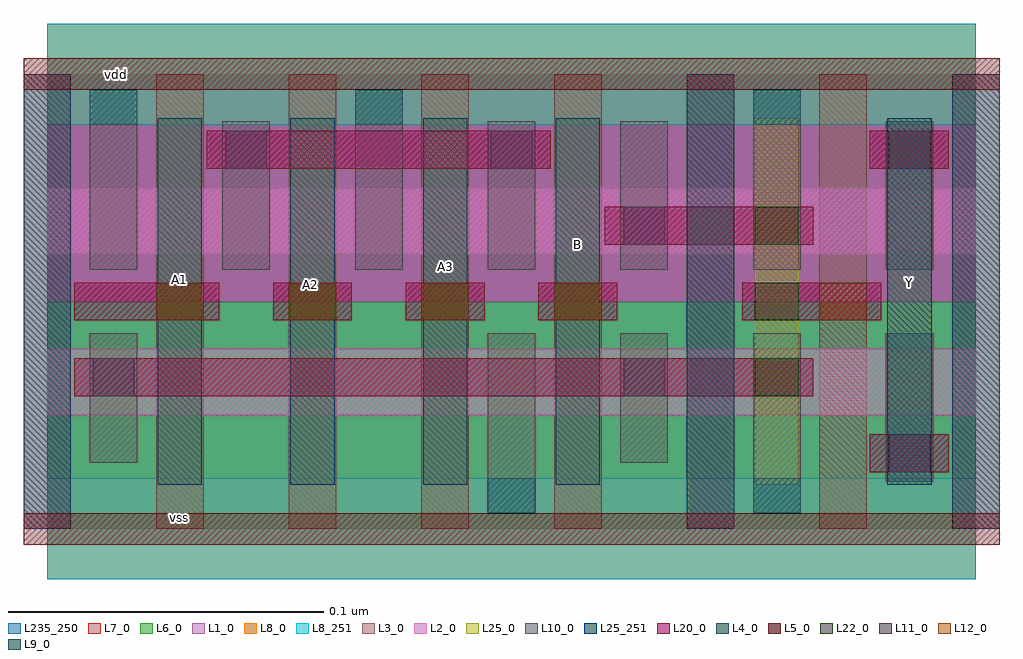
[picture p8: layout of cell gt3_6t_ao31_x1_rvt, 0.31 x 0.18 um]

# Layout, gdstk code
import gdstk
lib = gdstk.Library(unit=1e-6, precision=5e-10)
def R(c, l, rs):  # rectangles x0, y0, x1, y1
    for r in rs: c.add(gdstk.rectangle(r[:2], r[2:], *l))
def A(c, l, x, y, w, h, nx, ny, dx, dy):  # array of equal rectangles
    R(c, l, [(x+i*dx, y+j*dy, x+i*dx+w, y+j*dy+h) for i in range(nx) for j in range(ny)])
L1_0 = (1, 0)
L2_0 = (2, 0)
L3_0 = (3, 0)
L4_0 = (4, 0)
L5_0 = (5, 0)
L6_0 = (6, 0)
L7_0 = (7, 0)
L8_0 = (8, 0)
L8_251 = (8, 251)
L9_0 = (9, 0)
L10_0 = (10, 0)
L11_0 = (11, 0)
L12_0 = (12, 0)
L20_0 = (20, 0)
L22_0 = (22, 0)
L25_0 = (25, 0)
L25_251 = (25, 251)
L235_250 = (235, 250)

gt3_6t_ao31_x1_rvt = lib.new_cell('gt3_6t_ao31_x1_rvt')
R(gt3_6t_ao31_x1_rvt, L1_0, [(0,0.072,0.294,0.144)])
R(gt3_6t_ao31_x1_rvt, L2_0, [(0,0.036,0.294,0.057), (0,0.087,0.294,0.108)])
A(gt3_6t_ao31_x1_rvt, L3_0, -0.0075, 0, 0.015, 0.144, 8, 1, 0.042, 0)
R(gt3_6t_ao31_x1_rvt, L4_0, [(-0.0075,0,0.0075,0.144), (0.2025,0,0.2175,0.144), (0.2865,0,0.3015,0.144)])
R(gt3_6t_ao31_x1_rvt, L5_0, [(-0.0075,-0.005,0.3015,0.005), (-0.0075,0.139,0.3015,0.149)])
R(gt3_6t_ao31_x1_rvt, L6_0, [(0,0,0.294,0.072)])
R(gt3_6t_ao31_x1_rvt, L7_0, [(0,0.072,0.294,0.144)])
R(gt3_6t_ao31_x1_rvt, L8_0, [(0,-0.016,0.294,0.016), (0,0.128,0.294,0.16)])
R(gt3_6t_ao31_x1_rvt, L8_251, [(0,-0.016,0.294,0.016), (0,0.128,0.294,0.16)])
R(gt3_6t_ao31_x1_rvt, L9_0, [(0.1395,0.005,0.1545,0.016), (0.2235,0.005,0.2385,0.016), (0.0135,0.128,0.0285,0.139), (0.0975,0.128,0.1125,0.139), (0.2235,0.128,0.2385,0.139)])
R(gt3_6t_ao31_x1_rvt, L10_0, [(0.1395,0.005,0.1545,0.062), (0.2235,0.005,0.2385,0.062), (0.2655,0.015,0.2805,0.062), (0.0135,0.021,0.0285,0.062), (0.1815,0.021,0.1965,0.062), (0.0135,0.082,0.0285,0.139), (0.0555,0.082,0.0705,0.129), (0.0975,0.082,0.1125,0.139), (0.1395,0.082,0.1545,0.129), (0.1815,0.082,0.1965,0.129), (0.2235,0.082,0.2385,0.139), (0.2655,0.082,0.2805,0.129)])
R(gt3_6t_ao31_x1_rvt, L11_0, [(0.2665,0.018,0.2795,0.03), (0.0145,0.042,0.0275,0.054), (0.1825,0.042,0.1955,0.054), (0.1825,0.09,0.1955,0.102), (0.0565,0.114,0.0695,0.126), (0.1405,0.114,0.1535,0.126), (0.2665,0.114,0.2795,0.126)])
A(gt3_6t_ao31_x1_rvt, L12_0, 0.0345, 0.066, 0.015, 0.012, 4, 1, 0.042, 0)
R(gt3_6t_ao31_x1_rvt, L12_0, [(0.2445,0.066,0.2595,0.078)])
A(gt3_6t_ao31_x1_rvt, L20_0, 0.0715, 0.066, 0.025, 0.012, 3, 1, 0.042, 0)
R(gt3_6t_ao31_x1_rvt, L20_0, [(0.2605,0.018,0.2855,0.03), (0.0085,0.042,0.2425,0.054), (0.0085,0.066,0.0545,0.078), (0.22,0.066,0.264,0.078), (0.1765,0.09,0.2425,0.102), (0.0505,0.114,0.1595,0.126), (0.2605,0.114,0.2855,0.126)])
A(gt3_6t_ao31_x1_rvt, L22_0, 0.224, 0.042, 0.014, 0.012, 1, 3, 0, 0.024)
A(gt3_6t_ao31_x1_rvt, L22_0, 0.035, 0.066, 0.014, 0.012, 4, 1, 0.042, 0)
R(gt3_6t_ao31_x1_rvt, L22_0, [(0.266,0.018,0.28,0.03), (0.266,0.114,0.28,0.126)])
A(gt3_6t_ao31_x1_rvt, L25_0, 0.035, 0.014, 0.014, 0.116, 4, 1, 0.042, 0)
R(gt3_6t_ao31_x1_rvt, L25_0, [(0.224,0.014,0.238,0.13), (0.266,0.014,0.28,0.13)])
A(gt3_6t_ao31_x1_rvt, L25_251, 0.035, 0.014, 0.014, 0.116, 4, 1, 0.042, 0)
R(gt3_6t_ao31_x1_rvt, L25_251, [(0.266,0.014,0.28,0.13)])
R(gt3_6t_ao31_x1_rvt, L235_250, [(0,0,0.294,0.144)])
gt3_6t_ao31_x1_rvt.add(gdstk.Label('vss', (0.042,0.0035), layer=8, texttype=251))
gt3_6t_ao31_x1_rvt.add(gdstk.Label('vdd', (0.022,0.144), layer=8, texttype=251))
gt3_6t_ao31_x1_rvt.add(gdstk.Label('A3', (0.126,0.083), layer=25, texttype=251))
gt3_6t_ao31_x1_rvt.add(gdstk.Label('A1', (0.042,0.079), layer=25, texttype=251))
gt3_6t_ao31_x1_rvt.add(gdstk.Label('A2', (0.0835,0.0775), layer=25, texttype=251))
gt3_6t_ao31_x1_rvt.add(gdstk.Label('B', (0.168,0.09), layer=25, texttype=251))
gt3_6t_ao31_x1_rvt.add(gdstk.Label('Y', (0.273,0.078), layer=25, texttype=251))

lib.write_gds('gt3_6t_ao31_x1_rvt.gds')
